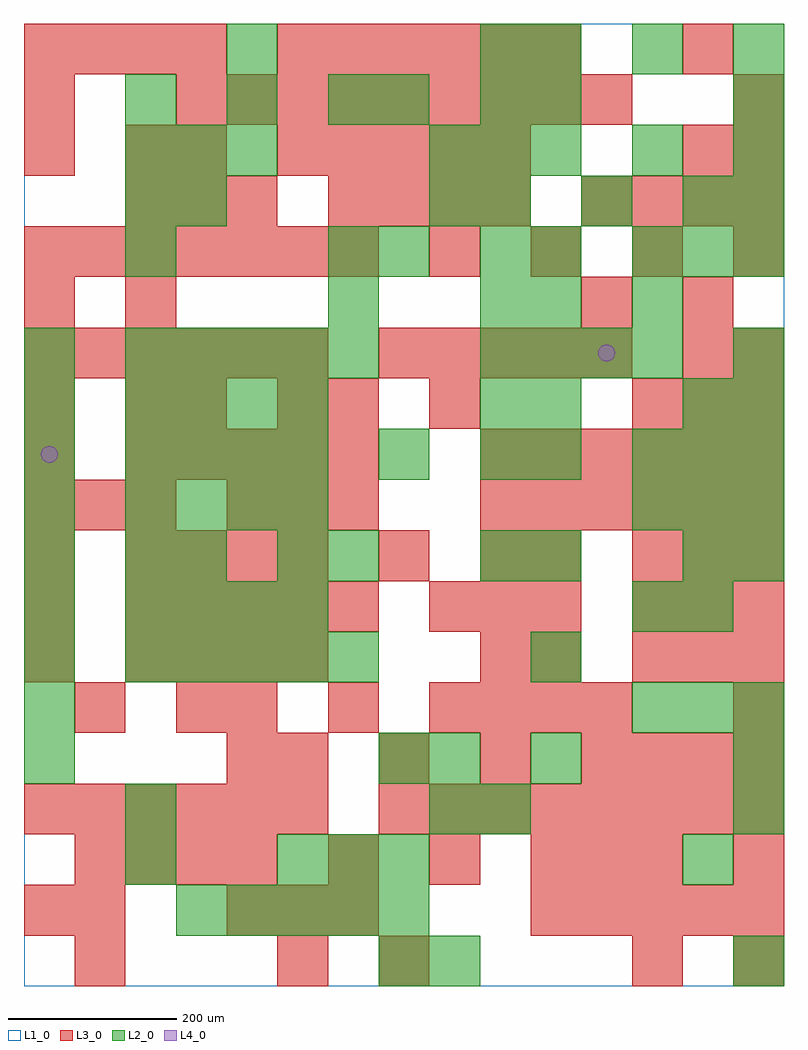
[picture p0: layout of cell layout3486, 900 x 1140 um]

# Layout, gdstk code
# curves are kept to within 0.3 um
import gdstk
lib = gdstk.Library(unit=1e-6, precision=1e-09)
def R(c, l, rs):  # rectangles x0, y0, x1, y1
    for r in rs: c.add(gdstk.rectangle(r[:2], r[2:], *l))
def A(c, l, x, y, w, h, nx, ny, dx, dy):  # array of equal rectangles
    R(c, l, [(x+i*dx, y+j*dy, x+i*dx+w, y+j*dy+h) for i in range(nx) for j in range(ny)])
def P(c, l, *ps):  # polygons
    for p in ps: c.add(gdstk.Polygon(p, *l))
L1_0 = (1, 0)
L2_0 = (2, 0)
L3_0 = (3, 0)
L4_0 = (4, 0)

layout3486 = lib.new_cell('layout3486')
R(layout3486, L1_0, [(0,0,900,1140)])
A(layout3486, L2_0, 180, 60, 60, 60, 5, 1, 60, 0)
A(layout3486, L2_0, 300, 120, 60, 60, 3, 1, 60, 0)
A(layout3486, L2_0, 0, 240, 60, 60, 1, 9, 0, 60)
A(layout3486, L2_0, 600, 240, 60, 60, 1, 4, 0, 120)
A(layout3486, L2_0, 720, 300, 60, 60, 3, 2, 60, 240)
A(layout3486, L2_0, 120, 360, 60, 60, 5, 2, 60, 360)
A(layout3486, L2_0, 120, 420, 60, 60, 4, 2, 60, 120)
A(layout3486, L2_0, 120, 600, 60, 60, 4, 2, 60, 60)
A(layout3486, L2_0, 720, 600, 60, 60, 3, 2, 60, 240)
A(layout3486, L2_0, 540, 720, 60, 60, 4, 1, 60, 0)
A(layout3486, L2_0, 540, 900, 60, 60, 3, 1, 120, 0)
A(layout3486, L2_0, 840, 900, 60, 60, 1, 3, 0, 60)
A(layout3486, L2_0, 120, 960, 60, 60, 3, 1, 60, 0)
A(layout3486, L2_0, 480, 960, 60, 60, 3, 1, 60, 0)
A(layout3486, L2_0, 120, 1020, 60, 60, 3, 1, 120, 0)
A(layout3486, L2_0, 600, 1080, 60, 60, 3, 1, 120, 0)
R(layout3486, L2_0, [(420,0,480,60), (480,0,540,60), (840,0,900,60), (120,120,180,180), (780,120,840,180), (120,180,180,240), (480,180,540,240), (540,180,600,240), (840,180,900,240), (420,240,480,300), (480,240,540,300), (840,240,900,300), (720,420,780,480), (780,420,840,480), (120,480,180,540), (180,480,240,540), (300,480,360,540), (360,480,420,540), (540,480,600,540), (780,480,840,540), (840,480,900,540), (420,600,480,660), (540,600,600,660), (540,660,600,720), (600,660,660,720), (780,660,840,720), (840,660,900,720), (840,720,900,780), (360,780,420,840), (540,780,600,840), (600,780,660,840), (720,780,780,840), (120,840,180,900), (360,840,420,900), (420,840,480,900), (540,840,600,900), (600,840,660,900), (120,900,180,960), (180,900,240,960), (480,900,540,960), (720,960,780,1020), (420,1020,480,1080), (540,1020,600,1080), (600,1020,660,1080), (240,1080,300,1140), (540,1080,600,1140)])
A(layout3486, L3_0, 240, 60, 60, 60, 3, 2, 60, 480)
A(layout3486, L3_0, 600, 60, 60, 60, 5, 1, 60, 0)
A(layout3486, L3_0, 60, 120, 60, 60, 4, 1, 60, 0)
A(layout3486, L3_0, 360, 120, 60, 60, 3, 1, 120, 0)
A(layout3486, L3_0, 0, 180, 60, 60, 6, 2, 60, 540)
A(layout3486, L3_0, 420, 180, 60, 60, 8, 1, 60, 0)
A(layout3486, L3_0, 300, 240, 60, 60, 4, 1, 120, 0)
A(layout3486, L3_0, 720, 240, 60, 60, 3, 2, 60, 120)
A(layout3486, L3_0, 240, 300, 60, 60, 3, 1, 120, 0)
A(layout3486, L3_0, 540, 300, 60, 60, 3, 1, 60, 0)
A(layout3486, L3_0, 0, 360, 60, 60, 1, 3, 0, 60)
A(layout3486, L3_0, 120, 360, 60, 60, 4, 2, 60, 120)
A(layout3486, L3_0, 120, 420, 60, 60, 5, 2, 60, 180)
A(layout3486, L3_0, 480, 420, 60, 60, 3, 1, 60, 0)
A(layout3486, L3_0, 720, 420, 60, 60, 3, 2, 60, 60)
A(layout3486, L3_0, 0, 540, 60, 60, 3, 1, 60, 0)
A(layout3486, L3_0, 540, 540, 60, 60, 6, 2, 60, 60)
A(layout3486, L3_0, 720, 660, 60, 60, 3, 1, 60, 0)
A(layout3486, L3_0, 420, 720, 60, 60, 5, 1, 60, 0)
A(layout3486, L3_0, 0, 840, 60, 60, 7, 1, 60, 0)
A(layout3486, L3_0, 480, 840, 60, 60, 4, 1, 120, 0)
A(layout3486, L3_0, 120, 900, 60, 60, 3, 1, 60, 0)
A(layout3486, L3_0, 360, 900, 60, 60, 4, 1, 60, 0)
A(layout3486, L3_0, 660, 900, 60, 60, 4, 1, 60, 0)
A(layout3486, L3_0, 300, 960, 60, 60, 5, 1, 60, 0)
A(layout3486, L3_0, 180, 1020, 60, 60, 9, 1, 60, 0)
A(layout3486, L3_0, 0, 1080, 60, 60, 4, 1, 60, 0)
A(layout3486, L3_0, 300, 1080, 60, 60, 6, 1, 60, 0)
R(layout3486, L3_0, [(60,0,120,60), (300,0,360,60), (420,0,480,60), (720,0,780,60), (840,0,900,60), (0,60,60,120), (60,60,120,120), (660,120,720,180), (720,120,780,180), (840,120,900,180), (240,240,300,300), (60,300,120,360), (180,300,240,360), (840,300,900,360), (540,360,600,420), (600,360,660,420), (420,480,480,540), (540,480,600,540), (600,480,660,540), (0,600,60,660), (0,660,60,720), (120,660,180,720), (180,660,240,720), (300,660,360,720), (360,660,420,720), (480,660,540,720), (780,720,840,780), (840,720,900,780), (0,780,60,840), (120,780,180,840), (660,780,720,840), (780,780,840,840), (0,960,60,1020), (120,960,180,1020), (180,960,240,1020), (780,960,840,1020), (840,960,900,1020), (0,1020,60,1080), (840,1020,900,1080), (780,1080,840,1140)])
P(layout3486, L4_0, [(40,630),(39.239,633.827),(37.071,637.071),(33.827,639.239),(30,640),(26.173,639.239),(22.929,637.071),(20.761,633.827),(20,630),(20.761,626.173),(22.929,622.929),(26.173,620.761),(30,620),(33.827,620.761),(37.071,622.929),(39.239,626.173)],
  [(700,750),(699.239,753.827),(697.071,757.071),(693.827,759.239),(690,760),(686.173,759.239),(682.929,757.071),(680.761,753.827),(680,750),(680.761,746.173),(682.929,742.929),(686.173,740.761),(690,740),(693.827,740.761),(697.071,742.929),(699.239,746.173)])

lib.write_gds('layout3486.gds')
